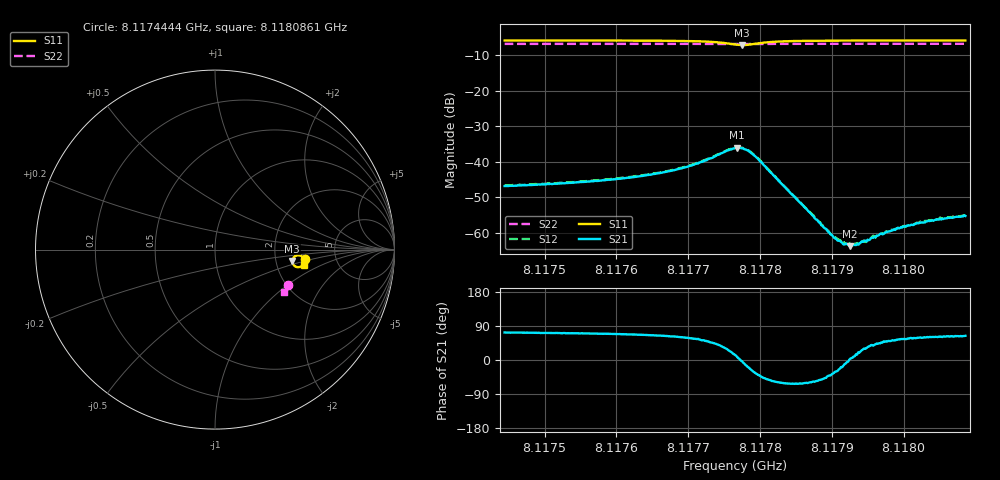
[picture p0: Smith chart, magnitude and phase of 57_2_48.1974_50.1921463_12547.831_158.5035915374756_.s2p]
#  HZ  S  RI  R  50.00
! Rohde & Schwarz Vector Network Analyzer
! Rohde-Schwarz,ZNB20-2Port,1311601062101988,3.16
! Created: UTC 3/20/2024, 11:38:37 AM
! freq[Hz]  re:S11  im:S11  re:S21  im:S21  re:S12  im:S12  re:S22  im:S22
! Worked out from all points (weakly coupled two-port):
!   401 points, 8.1174444 GHz to 8.1180861 GHz, reference 50 ohm
!   highest |S21| = -36.06 dB at 8.1177685 GHz (marker M1); lowest = -63.7 dB at 8.1179257 GHz (marker M2)
!   lowest |S11| = -7.2 dB at 8.1177749 GHz (marker M3), VSWR 2.54, Z = 124 - j19.2 ohm
!   |S11| at or under -10 dB: nowhere
!   |S22| runs from -6.9 to -6.9 dB; largest |S21 - S12| = 0.00053
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8.11744441e9  0.5025 -0.053  0.00135 0.00435  0.00142 0.00438  0.4061 -0.1984
8.11755189e9  0.5003 -0.0638  0.00174 0.00489  0.00184 0.00495  0.403 -0.2054
8.11760804e9  0.4983 -0.0706  0.00217 0.00541  0.00228 0.00552  0.4013 -0.209
8.11765938e9  0.4948 -0.079  0.003 0.00621  0.00309 0.0063  0.3996 -0.2123
8.1177059e9  0.4864 -0.0895  0.00492 0.00747  0.0051 0.00756  0.3977 -0.2157
8.117746e9  0.4605 -0.0979  0.0106 0.00783  0.0108 0.00789  0.3952 -0.2182
8.11776525e9  0.4357 -0.0824  0.0151 0.00364  0.0154 0.00339  0.3939 -0.2182
8.11776846e9  0.4329 -0.0765  0.0156 0.00207  0.0158 0.00188  0.3936 -0.2179
8.11777488e9  0.4306 -0.0629  0.0154 -0.000837  0.0157 -0.0012  0.3936 -0.2179
8.1177845e9  0.4385 -0.0435  0.0133 -0.00485  0.0133 -0.00519  0.3939 -0.2177
8.11779573e9  0.4565 -0.0326  0.00905 -0.00685  0.00911 -0.00707  0.3944 -0.218
8.11782461e9  0.4857 -0.0399  0.00293 -0.00478  0.00292 -0.00489  0.3946 -0.2203
8.11787273e9  0.4968 -0.057  0.000948 -0.00149  0.000939 -0.00155  0.3936 -0.2241
8.1178968e9  0.4981 -0.0627  0.000758 -0.000652  0.000754 -0.000671  0.3928 -0.2258
8.11790803e9  0.4984 -0.0649  0.000683 -0.000376  0.000708 -0.000376  0.3925 -0.2266
8.11791765e9  0.4986 -0.0666  0.000674 -0.000134  0.000704 -0.000151  0.3921 -0.2272
8.11792567e9  0.4987 -0.0679  0.00065 3.87e-05  0.000722 3.97e-06  0.3919 -0.2278
8.11793851e9  0.4987 -0.0701  0.000673 0.000236  0.000661 0.000229  0.3915 -0.2286
8.11798022e9  0.4985 -0.0757  0.000672 0.000803  0.000684 0.000828  0.39 -0.2313
8.11802192e9  0.4982 -0.0804  0.000703 0.00118  0.000783 0.00118  0.3886 -0.2341
8.11804759e9  0.4978 -0.0829  0.000763 0.00135  0.000769 0.00134  0.3877 -0.2355
8.11808609e9  0.4974 -0.0867  0.000764 0.00155  0.00081 0.00157  0.3864 -0.2379
